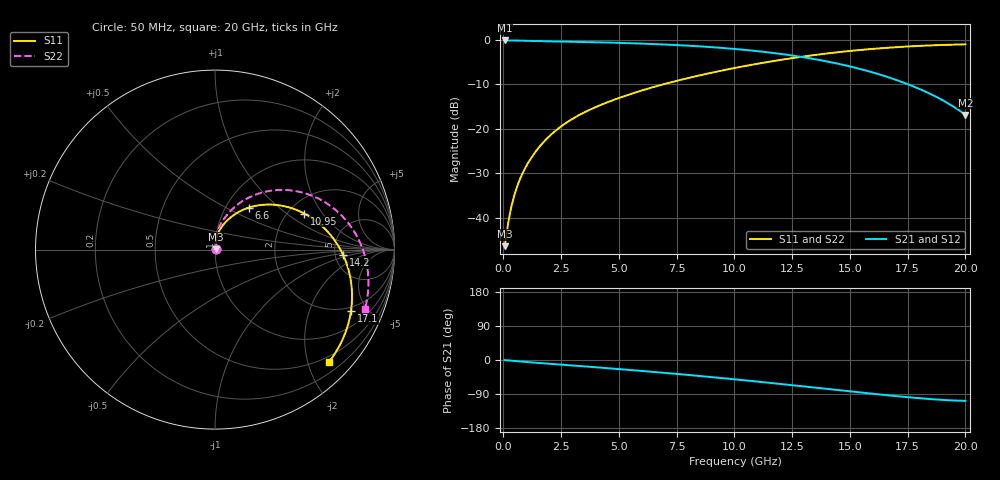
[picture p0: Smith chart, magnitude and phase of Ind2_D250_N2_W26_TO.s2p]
#  Hz  S  RI  R  50
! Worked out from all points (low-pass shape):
!   400 points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, 50 MHz to 20 GHz, reference 50 ohm
!   highest |S21| = -0.13 dB at 50 MHz (marker M1); lowest = -16.8 dB at 20 GHz (marker M2)
!   |S21| within 3 dB of the highest: start of sweep to 11.97 GHz
!   lowest |S11| = -46.4 dB at 50 MHz (marker M3), VSWR 1.01, Z = 50.4 + j0.184 ohm
!   |S11| at or under -10 dB: start of sweep to 6.911 GHz
!   |S22| runs from -46.7 to -0.9 dB; largest |S21 - S12| = 0.00062
!   S11 on the Smith chart (normalised r, x): 50 MHz: 1.01, +0.00; 6.6 GHz: 1.27, +0.66; 10.95 GHz: 2.43, +1.37; 14.2 GHz: 5.90, -0.67; 17.1 GHz: 1.76, -3.90; 20 GHz: 0.39, -2.38
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5e7  0.00444 0.00182  0.9854 -0.00473  0.9852 -0.00471  0.00422 0.00184
2.5e8  0.00443 0.00914  0.9846 -0.0236  0.9844 -0.0235  0.00413 0.00926
4.5e8  0.00443 0.0166  0.9827 -0.0422  0.9826 -0.042  0.00395 0.0168
7e8  0.00455 0.0262  0.979 -0.0647  0.9789 -0.0646  0.0037 0.0266
1.05e9  0.00526 0.0404  0.9719 -0.0948  0.972 -0.0946  0.00363 0.0411
1.5e9  0.00786 0.0598  0.961 -0.1305  0.9611 -0.1304  0.00482 0.0611
2.05e9  0.0146 0.0844  0.9468 -0.1708  0.9469 -0.1708  0.00935 0.0868
2.65e9  0.0268 0.1106  0.9312 -0.213  0.9312 -0.2131  0.0185 0.1147
3.4e9  0.0477 0.1407  0.9096 -0.2659  0.9096 -0.266  0.035 0.1477
4.8e9  0.0988 0.1885  0.8557 -0.363  0.8557 -0.363  0.0758 0.2038
6.6e9  0.1884 0.2341  0.7599 -0.4743  0.7598 -0.4743  0.1492 0.2676
6.7e9  0.1942 0.2359  0.7537 -0.4799  0.7536 -0.48  0.1541 0.2707
8.45e9  0.3075 0.2509  0.6303 -0.566  0.6301 -0.566  0.2526 0.3152
1.005e10  0.4272 0.2307  0.4948 -0.6149  0.4945 -0.6149  0.3642 0.3327
1.095e10  0.4975 0.201  0.4119 -0.6262  0.4116 -0.626  0.4345 0.3285
1.335e10  0.668 0.0496  0.1896 -0.5856  0.1893 -0.5852  0.6292 0.2533
1.42e10  0.7128 -0.0279  0.1197 -0.5463  0.1195 -0.5458  0.6928 0.2024
1.545e10  0.7543 -0.1579  0.0344 -0.4693  0.0344 -0.4687  0.7716 0.1065
1.67e10  0.7623 -0.297  -0.0236 -0.3767  -0.0235 -0.3763  0.826 -0.00759
1.71e10  0.7577 -0.3415  -0.0358 -0.3457  -0.0357 -0.3452  0.8376 -0.0465
1.87e10  0.7066 -0.51  -0.0562 -0.2246  -0.0557 -0.2243  0.8544 -0.2057
2e10  0.6345 -0.6261  -0.0438 -0.1369  -0.0438 -0.1369  0.836 -0.3287
